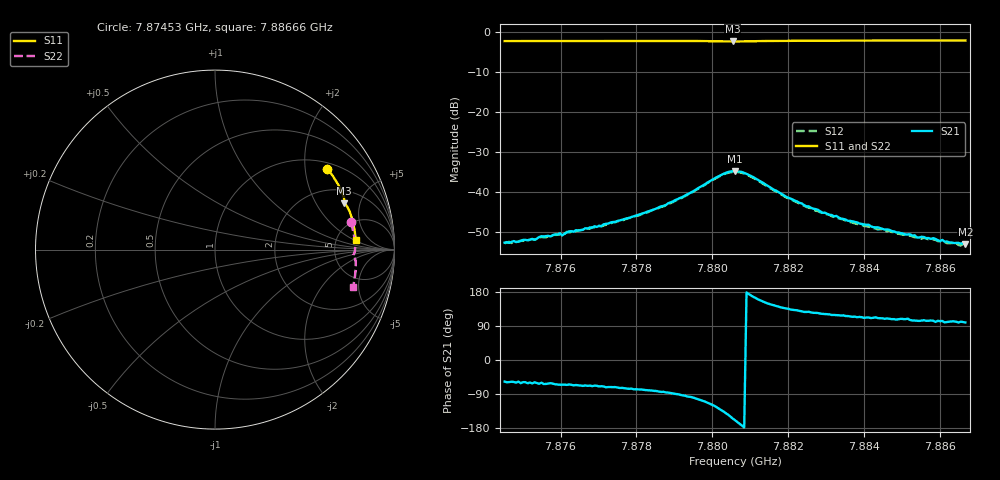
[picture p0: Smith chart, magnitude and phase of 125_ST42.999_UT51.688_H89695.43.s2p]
#  HZ  S  DB  R  50.00
! Rohde & Schwarz Vector Network Analyzer
! Rohde-Schwarz,ZNB20-2Port,1311601062101988,3.16
! Created: UTC 1/12/2023, 6:38:33 PM
! freq[Hz]  db:S11  ang:S11  db:S21  ang:S21  db:S12  ang:S12  db:S22  ang:S22
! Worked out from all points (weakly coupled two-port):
!   201 points, 7.87453 GHz to 7.88666 GHz, reference 50 ohm
!   highest |S21| = -34.77 dB at 7.88059 GHz (marker M1); lowest = -53.1 dB at 7.88666 GHz (marker M2)
!   lowest |S11| = -2.3 dB at 7.88053 GHz (marker M3), VSWR 7.46, Z = 143 + j177 ohm
!   |S11| at or under -10 dB: nowhere
!   |S22| runs from -2.3 to -2.0 dB; largest |S21 - S12| = 0.0012
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7.874528e9  -2.25 35.7  -52.69 -57.1  -52.83 -61.6  -2.24 11.3
7.875317e9  -2.23 33.5  -51.97 -58.7  -51.94 -64.1  -2.22 9.4
7.875499e9  -2.23 33.1  -51.08 -59.9  -51.26 -67.3  -2.22 9.0
7.875984e9  -2.23 31.7  -50.34 -65.3  -50.64 -68.5  -2.21 7.8
7.876044e9  -2.22 31.5  -50.87 -65.1  -50.40 -66.3  -2.20 7.7
7.876226e9  -2.22 31.0  -49.84 -64.6  -50.12 -69.2  -2.19 7.3
7.87659e9  -2.22 30.0  -49.47 -68.3  -49.46 -71.5  -2.18 6.4
7.877864e9  -2.20 26.5  -46.28 -75.4  -46.56 -78.8  -2.15 3.5
7.878592e9  -2.20 24.5  -43.82 -83.2  -43.97 -86.8  -2.15 1.7
7.879198e9  -2.21 22.8  -41.31 -93.1  -41.47 -96.2  -2.15 0.2
7.88029e9  -2.32 20.0  -35.46 -135.9  -35.58 -139.2  -2.26 -2.2
7.880533e9  -2.34 19.7  -34.83 -154.5  -35.00 -157.6  -2.28 -2.3
7.880593e9  -2.34 19.7  -34.77 -158.8  -35.01 -162.1  -2.29 -2.4
7.880897e9  -2.31 19.3  -35.47 178.1  -35.64 174.9  -2.26 -2.5
7.881928e9  -2.18 16.7  -41.13 136.2  -41.31 132.9  -2.10 -4.5
7.882656e9  -2.15 14.7  -44.19 124.5  -44.52 121.2  -2.06 -6.3
7.883565e9  -2.13 12.2  -47.22 116.0  -47.26 112.8  -2.03 -8.3
7.884657e9  -2.11 9.3  -49.48 108.9  -49.69 105.2  -2.00 -10.8
7.885385e9  -2.11 7.4  -51.39 103.9  -51.30 102.5  -1.99 -12.4
7.886537e9  -2.09 4.4  -52.94 101.1  -53.41 96.7  -1.98 -14.8
7.886598e9  -2.09 4.3  -52.70 100.1  -52.94 95.6  -1.98 -15.0
7.886659e9  -2.09 4.1  -53.07 99.1  -53.56 95.4  -1.97 -15.1
